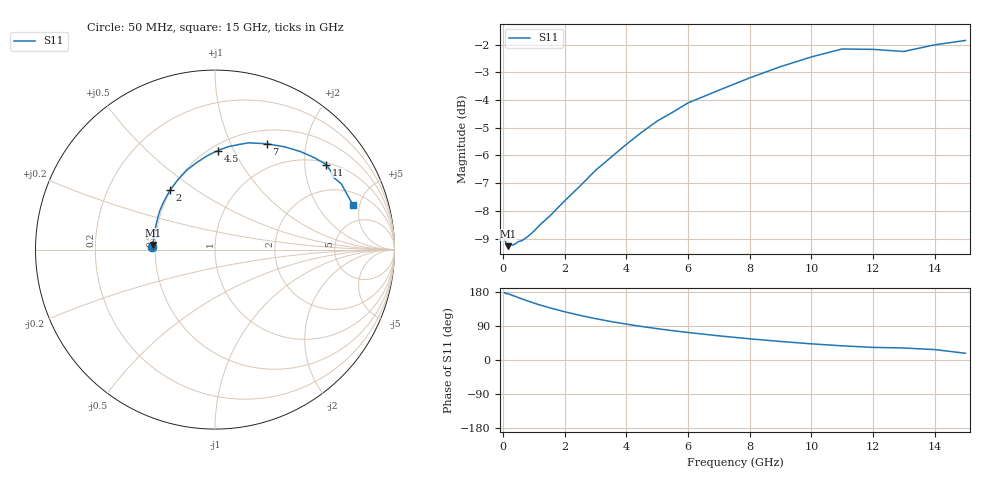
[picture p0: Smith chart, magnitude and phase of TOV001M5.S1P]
! SIEMENS Small Signal Semiconductors
! BAT15-03W
! Si Schottky Diode in SOD323
! IF = 1.5 mA
! S-Parameters:  May  1996
# GHz  S  MA  R  50
!  f  S11
! GHz  MAG  ANG
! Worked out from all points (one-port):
!   31 points, 50 MHz to 15 GHz, reference 50 ohm
!   lowest |S11| = -9.3 dB at 150 MHz (marker M1), VSWR 2.05, Z = 24.4 + j1.43 ohm
!   |S11| at or under -10 dB: nowhere
!   S11 on the Smith chart (normalised r, x): 50 MHz: 0.48, +0.02; 2 GHz: 0.49, +0.39; 4.5 GHz: 0.55, +0.87; 7 GHz: 0.67, +1.38; 11 GHz: 1.06, +2.57; 15 GHz: 3.04, +4.33
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0.05  0.3537 177.6
0.1  0.3477 174.9
0.15  0.3437 175.7
0.2  0.3474 173.6
0.3  0.3451 170.6
0.4  0.3471 167.8
0.5  0.3504 164.5
0.6  0.3514 161.6
0.8  0.3576 155.8
1.2  0.3757 145.1
1.5  0.3888 138.0
2  0.415 127.3
2.5  0.4415 117.7
3  0.471 109.2
3.5  0.4971 101.5
4  0.5248 94.7
4.5  0.5519 88.4
5  0.5781 82.7
6  0.6234 72.6
7  0.657 63.8
8  0.6916 55.9
9  0.7246 48.9
10  0.7545 42.7
11  0.78 37.4
12  0.7787 33.3
13  0.7719 31.7
14  0.7934 27.5
15  0.8081 17.8
